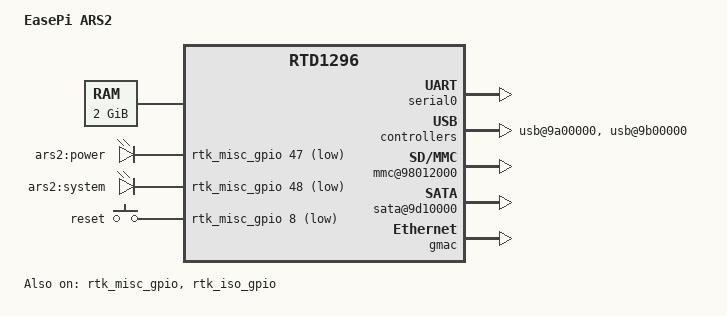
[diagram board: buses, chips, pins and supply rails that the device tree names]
// SPDX-License-Identifier: GPL-2.0
/dts-v1/;

#include <dt-bindings/gpio/gpio.h>
#include <dt-bindings/input/input.h>
#include <dt-bindings/interrupt-controller/irq.h>
#include <dt-bindings/interrupt-controller/arm-gic.h>
#include <dt-bindings/leds/common.h>

/ {
	compatible = "linkease,easepi-ars2", "realtek,rtd1296";
	model = "EasePi ARS2";
	interrupt-parent = <&gic>;
	#address-cells = <2>;
	#size-cells = <2>;

	chosen {
		stdout-path = "serial0:115200n8";
		default-ip = "192.168.88.100";
	};

	memory@0 {
		device_type = "memory";
		reg = <0x0 0x0 0x0 0x80000000>;
	};

	reserved-memory {
		#address-cells = <2>;
		#size-cells = <2>;
		ranges;

		secmon@07400000 {
			reg = <0x0 0x07400000 0x0 0x200000>;
			no-map;
		};
	};

	psci {
		compatible = "arm,psci-1.0";
		method = "smc";
	};

	cpus {
		#address-cells = <1>;
		#size-cells = <0>;

		cpu0: cpu@0 {
			device_type = "cpu";
			compatible = "arm,cortex-a53";
			reg = <0x0>;
			enable-method = "psci";
		};

		cpu1: cpu@1 {
			device_type = "cpu";
			compatible = "arm,cortex-a53";
			reg = <0x1>;
			enable-method = "psci";
		};

		cpu2: cpu@2 {
			device_type = "cpu";
			compatible = "arm,cortex-a53";
			reg = <0x2>;
			enable-method = "psci";
		};

		cpu3: cpu@3 {
			device_type = "cpu";
			compatible = "arm,cortex-a53";
			reg = <0x3>;
			enable-method = "psci";
		};
	};

	gic: interrupt-controller@10301000 {
		compatible = "arm,gic-v3";
		reg = <0x0 0x10301000 0x0 0x10000>,
		      <0x0 0x10302000 0x0 0x20000>,
		      <0x0 0x10304000 0x0 0x20000>,
		      <0x0 0x10306000 0x0 0x20000>;
		#interrupt-cells = <3>;
		interrupt-controller;
		#address-cells = <0>;
	};

	timer {
		compatible = "arm,armv8-timer";
		interrupts = <GIC_PPI 13 IRQ_TYPE_LEVEL_LOW>,
			     <GIC_PPI 14 IRQ_TYPE_LEVEL_LOW>,
			     <GIC_PPI 11 IRQ_TYPE_LEVEL_LOW>,
			     <GIC_PPI 10 IRQ_TYPE_LEVEL_LOW>;
	};

	clocks {
		#address-cells = <1>;
		#size-cells = <0>;

		uart_clk: uart-clk {
			compatible = "fixed-clock";
			clock-frequency = <24000000>;
			#clock-cells = <0>;
		};
	};

	pmu {
		compatible = "arm,cortex-a53-pmu";
		interrupts = <GIC_PPI 7 IRQ_TYPE_LEVEL_LOW>;
	};

	/* UART0 - Debug Port */
	serial0: serial@98000000 {
		compatible = "snps,dw-apb-uart";
		reg = <0x0 0x98000000 0x0 0x2000>;
		clocks = <&uart_clk>;
		status = "okay";
	};

	/* USB 2.0 Host */
	usb@9a00000 {
		compatible = "generic-xhci";
		reg = <0x0 0x9a00000 0x0 0x10000>;
		interrupts = <GIC_SPI 61 IRQ_TYPE_LEVEL_HIGH>;
		status = "okay";
	};

	/* USB 3.0 Host */
	usb@9b00000 {
		compatible = "generic-xhci";
		reg = <0x0 0x9b00000 0x0 0x10000>;
		interrupts = <GIC_SPI 62 IRQ_TYPE_LEVEL_HIGH>;
		status = "okay";
	};

	/* eMMC */
	mmc@98012000 {
		compatible = "realtek,rtd1296-emmc";
		reg = <0x0 0x98012000 0x0 0x8000>;
		interrupts = <GIC_SPI 57 IRQ_TYPE_LEVEL_HIGH>;
		status = "okay";
	};

	/* SD Card */
	sd0: sd@98013000 {
		compatible = "realtek,rtd1296-sdmmc";
		reg = <0x0 0x98013000 0x0 0x8000>;
		interrupts = <GIC_SPI 56 IRQ_TYPE_LEVEL_HIGH>;
		status = "disabled";
	};

	/* SATA */
	sata@9d10000 {
		compatible = "generic-ahci";
		reg = <0x0 0x9d10000 0x0 0x10000>;
		interrupts = <GIC_SPI 60 IRQ_TYPE_LEVEL_HIGH>;
		status = "okay";
	};

	/* GMAC (Ethernet) */
	gmac: ethernet@98016000 {
		compatible = "Realtek,r8168";
		reg = <0x0 0x98016000 0x0 0x1000>,
		      <0x0 0x98007000 0x0 0x1000>;
		interrupts = <GIC_SPI 22 IRQ_TYPE_LEVEL_HIGH>;
		rtl-config = <1>;
		mac-version = <42>;
		rtl-features = <2>;
		output-mode = <0>;
		status = "okay";
	};

	/* MISC GPIO */
	rtk_misc_gpio: gpio@9801b100 {
		compatible = "realtek,rtk-misc-gpio-irq-mux";
		gpio-controller;
		#gpio-cells = <3>;
		#interrupt-cells = <1>;
		interrupt-controller;
		reg = <0x0 0x9801b000 0x0 0x100>,
		      <0x0 0x9801b100 0x0 0x100>;
		ngpios = <101>;
		status = "okay";
	};

	/* ISO GPIO */
	rtk_iso_gpio: gpio@98007100 {
		compatible = "realtek,rtk-iso-gpio-irq-mux";
		gpio-controller;
		#gpio-cells = <3>;
		#interrupt-cells = <1>;
		interrupt-controller;
		reg = <0x0 0x98007000 0x0 0x100>,
		      <0x0 0x98007100 0x0 0x100>;
		ngpios = <35>;
		status = "okay";
	};

	/* LEDs */
	leds {
		compatible = "gpio-leds";

		led-power {
			label = "ars2:power";
			gpios = <&rtk_misc_gpio 47 GPIO_ACTIVE_LOW>;
			default-state = "on";
			linux,default-trigger = "default-on";
		};

		led-system {
			label = "ars2:system";
			gpios = <&rtk_misc_gpio 48 GPIO_ACTIVE_LOW>;
			default-state = "off";
			linux,default-trigger = "heartbeat";
		};
	};

	/* Buttons */
	gpio-keys {
		compatible = "gpio-keys";

		reset {
			label = "reset";
			gpios = <&rtk_misc_gpio 8 GPIO_ACTIVE_LOW>;
			linux,code = <KEY_RESTART>;
			debounce-interval = <50>;
		};
	};
};
